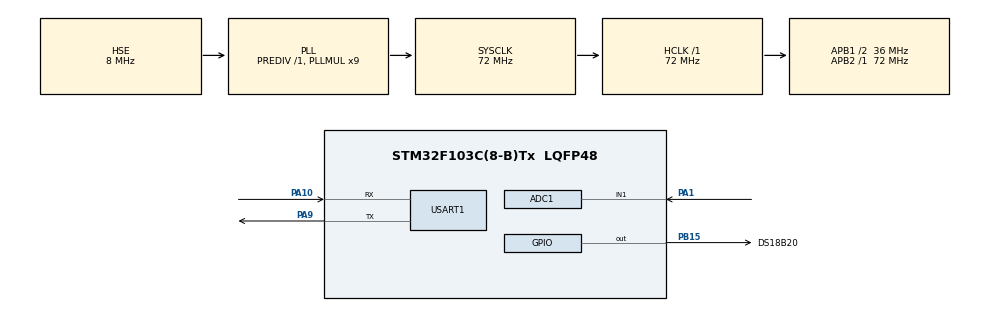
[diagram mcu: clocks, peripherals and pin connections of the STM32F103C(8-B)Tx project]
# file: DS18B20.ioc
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ADC1.Channel-1\#ChannelRegularConversion=ADC_CHANNEL_1
ADC1.ContinuousConvMode=DISABLE
ADC1.NbrOfConversionFlag=1
ADC1.Rank-1\#ChannelRegularConversion=1
ADC1.SamplingTime-1\#ChannelRegularConversion=ADC_SAMPLETIME_1CYCLE_5
ADC1.master=1
Mcu.Family=STM32F1
Mcu.Name=STM32F103C(8-B)Tx
Mcu.Package=LQFP48
NVIC.PriorityGroup=NVIC_PRIORITYGROUP_4
PA1.Signal=ADCx_IN1
PA10.Mode=Asynchronous
PA10.Signal=USART1_RX
PA13.Mode=Serial_Wire
PA13.Signal=SYS_JTMS-SWDIO
PA14.Mode=Serial_Wire
PA14.Signal=SYS_JTCK-SWCLK
PA9.Mode=Asynchronous
PA9.Signal=USART1_TX
PB15.GPIO_Label=DS18B20
PB15.Signal=GPIO_Output
PD0-OSC_IN.Mode=HSE-External-Oscillator
PD0-OSC_IN.Signal=RCC_OSC_IN
PD1-OSC_OUT.Mode=HSE-External-Oscillator
PD1-OSC_OUT.Signal=RCC_OSC_OUT
ProjectManager.HeapSize=0x200
ProjectManager.StackSize=0x400
ProjectManager.TargetToolchain=MDK-ARM V5
RCC.ADCPresc=RCC_ADCPCLK2_DIV6
RCC.AHBFreq_Value=72000000
RCC.APB1CLKDivider=RCC_HCLK_DIV2
RCC.APB1Freq_Value=36000000
RCC.APB1TimFreq_Value=72000000
RCC.APB2Freq_Value=72000000
RCC.APB2TimFreq_Value=72000000
RCC.HCLKFreq_Value=72000000
RCC.PLLMUL=RCC_PLL_MUL9
RCC.PLLSourceVirtual=RCC_PLLSOURCE_HSE
RCC.SYSCLKFreq_VALUE=72000000
RCC.SYSCLKSource=RCC_SYSCLKSOURCE_PLLCLK
RCC.USBFreq_Value=72000000
SH.ADCx_IN1.0=ADC1_IN1,IN1
TIM3.Prescaler=72-1
USART1.VirtualMode=VM_ASYNC
VP_TIM3_VS_ClockSourceINT.Mode=Internal
board=custom

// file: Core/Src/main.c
/* USER CODE BEGIN Header */
/**
  ******************************************************************************
  * @file           : main.c
  * @brief          : Main program body
  ******************************************************************************
  * @attention
  *
  * <h2><center>&copy; Copyright (c) 2022 STMicroelectronics.
  * All rights reserved.</center></h2>
  *
  * This software component is licensed by ST under BSD 3-Clause license,
  * the "License"; You may not use this file except in compliance with the
  * License. You may obtain a copy of the License at:
  *                        opensource.org/licenses/BSD-3-Clause
  *
  ******************************************************************************
  */
/* USER CODE END Header */
#include "main.h"

/* USER CODE BEGIN Includes */
#include <stdio.h>
#include <DS18B20.h>
uint8_t u8_RxBuff[20]; //Buffer luu chuoi nhan duoc
uint8_t u8_RxData;	//Luu byte nhan duoc
uint8_t u8_TxBuff[20] = ""; //Buffer truyen di
uint8_t _rxIndex; //con tro cua RxBuff
uint8_t Tx_Flag = 0;
/* USER CODE END Includes */

ADC_HandleTypeDef hadc1;

TIM_HandleTypeDef htim3;

UART_HandleTypeDef huart1;

void SystemClock_Config(void);
static void MX_GPIO_Init(void);
static void MX_ADC1_Init(void);
static void MX_USART1_UART_Init(void);
static void MX_TIM3_Init(void);

/* USER CODE BEGIN 0 */
DS18B20_Name DS1;
float Temp;
/* USER CODE END 0 */

int main(void)
{

  /* MCU Configuration--------------------------------------------------------*/

  /* Reset of all peripherals, Initializes the Flash interface and the Systick. */
  HAL_Init();

  /* Configure the system clock */
  SystemClock_Config();

  /* Initialize all configured peripherals */
  MX_GPIO_Init();
  MX_ADC1_Init();
  MX_USART1_UART_Init();
  MX_TIM3_Init();
  /* USER CODE BEGIN 2 */
	char Char_2_uint[8] = "";
	DS18B20_Init(&DS1, &htim3, DS18B20_GPIO_Port, DS18B20_Pin);
  /* USER CODE END 2 */

  /* Infinite loop */
  while (1)
  {

    /* USER CODE BEGIN 3 */
		Temp = DS18B20_ReadTemp(&DS1);

		sprintf(Char_2_uint,"%2.2f\n",Temp);
		for(int i = 0; i < 8; i++)
		{
			u8_TxBuff[i] = (uint8_t)Char_2_uint[i];
		}
		HAL_UART_Transmit(&huart1, u8_TxBuff, sizeof(u8_TxBuff),100);
		HAL_Delay(500);
  }
  /* USER CODE END 3 */
}

void SystemClock_Config(void)
{
  RCC_OscInitTypeDef RCC_OscInitStruct = {0};
  RCC_ClkInitTypeDef RCC_ClkInitStruct = {0};
  RCC_PeriphCLKInitTypeDef PeriphClkInit = {0};

  /** Initializes the RCC Oscillators according to the specified parameters
  * in the RCC_OscInitTypeDef structure.
  */
  RCC_OscInitStruct.OscillatorType = RCC_OSCILLATORTYPE_HSE;
  RCC_OscInitStruct.HSEState = RCC_HSE_ON;
  RCC_OscInitStruct.HSEPredivValue = RCC_HSE_PREDIV_DIV1;
  RCC_OscInitStruct.HSIState = RCC_HSI_ON;
  RCC_OscInitStruct.PLL.PLLState = RCC_PLL_ON;
  RCC_OscInitStruct.PLL.PLLSource = RCC_PLLSOURCE_HSE;
  RCC_OscInitStruct.PLL.PLLMUL = RCC_PLL_MUL9;
  if (HAL_RCC_OscConfig(&RCC_OscInitStruct) != HAL_OK)
  {
    Error_Handler();
  }
  /** Initializes the CPU, AHB and APB buses clocks
  */
  RCC_ClkInitStruct.ClockType = RCC_CLOCKTYPE_HCLK|RCC_CLOCKTYPE_SYSCLK
                              |RCC_CLOCKTYPE_PCLK1|RCC_CLOCKTYPE_PCLK2;
  RCC_ClkInitStruct.SYSCLKSource = RCC_SYSCLKSOURCE_PLLCLK;
  RCC_ClkInitStruct.AHBCLKDivider = RCC_SYSCLK_DIV1;
  RCC_ClkInitStruct.APB1CLKDivider = RCC_HCLK_DIV2;
  RCC_ClkInitStruct.APB2CLKDivider = RCC_HCLK_DIV1;

  if (HAL_RCC_ClockConfig(&RCC_ClkInitStruct, FLASH_LATENCY_2) != HAL_OK)
  {
    Error_Handler();
  }
  PeriphClkInit.PeriphClockSelection = RCC_PERIPHCLK_ADC;
  PeriphClkInit.AdcClockSelection = RCC_ADCPCLK2_DIV6;
  if (HAL_RCCEx_PeriphCLKConfig(&PeriphClkInit) != HAL_OK)
  {
    Error_Handler();
  }
}

static void MX_ADC1_Init(void)
{

  ADC_ChannelConfTypeDef sConfig = {0};

  /** Common config
  */
  hadc1.Instance = ADC1;
  hadc1.Init.ScanConvMode = ADC_SCAN_DISABLE;
  hadc1.Init.ContinuousConvMode = DISABLE;
  hadc1.Init.DiscontinuousConvMode = DISABLE;
  hadc1.Init.ExternalTrigConv = ADC_SOFTWARE_START;
  hadc1.Init.DataAlign = ADC_DATAALIGN_RIGHT;
  hadc1.Init.NbrOfConversion = 1;
  if (HAL_ADC_Init(&hadc1) != HAL_OK)
  {
    Error_Handler();
  }
  /** Configure Regular Channel
  */
  sConfig.Channel = ADC_CHANNEL_1;
  sConfig.Rank = ADC_REGULAR_RANK_1;
  sConfig.SamplingTime = ADC_SAMPLETIME_1CYCLE_5;
  if (HAL_ADC_ConfigChannel(&hadc1, &sConfig) != HAL_OK)
  {
    Error_Handler();
  }

}

static void MX_TIM3_Init(void)
{

  TIM_ClockConfigTypeDef sClockSourceConfig = {0};
  TIM_MasterConfigTypeDef sMasterConfig = {0};

  htim3.Instance = TIM3;
  htim3.Init.Prescaler = 72-1;
  htim3.Init.CounterMode = TIM_COUNTERMODE_UP;
  htim3.Init.Period = 65535;
  htim3.Init.ClockDivision = TIM_CLOCKDIVISION_DIV1;
  htim3.Init.AutoReloadPreload = TIM_AUTORELOAD_PRELOAD_DISABLE;
  if (HAL_TIM_Base_Init(&htim3) != HAL_OK)
  {
    Error_Handler();
  }
  sClockSourceConfig.ClockSource = TIM_CLOCKSOURCE_INTERNAL;
  if (HAL_TIM_ConfigClockSource(&htim3, &sClockSourceConfig) != HAL_OK)
  {
    Error_Handler();
  }
  sMasterConfig.MasterOutputTrigger = TIM_TRGO_RESET;
  sMasterConfig.MasterSlaveMode = TIM_MASTERSLAVEMODE_DISABLE;
  if (HAL_TIMEx_MasterConfigSynchronization(&htim3, &sMasterConfig) != HAL_OK)
  {
    Error_Handler();
  }

}

static void MX_USART1_UART_Init(void)
{

  huart1.Instance = USART1;
  huart1.Init.BaudRate = 115200;
  huart1.Init.WordLength = UART_WORDLENGTH_8B;
  huart1.Init.StopBits = UART_STOPBITS_1;
  huart1.Init.Parity = UART_PARITY_NONE;
  huart1.Init.Mode = UART_MODE_TX_RX;
  huart1.Init.HwFlowCtl = UART_HWCONTROL_NONE;
  huart1.Init.OverSampling = UART_OVERSAMPLING_16;
  if (HAL_UART_Init(&huart1) != HAL_OK)
  {
    Error_Handler();
  }

}

static void MX_GPIO_Init(void)
{
  GPIO_InitTypeDef GPIO_InitStruct = {0};

  /* GPIO Ports Clock Enable */
  __HAL_RCC_GPIOD_CLK_ENABLE();
  __HAL_RCC_GPIOA_CLK_ENABLE();
  __HAL_RCC_GPIOB_CLK_ENABLE();

  /*Configure GPIO pin Output Level */
  HAL_GPIO_WritePin(DS18B20_GPIO_Port, DS18B20_Pin, GPIO_PIN_RESET);

  /*Configure GPIO pin : DS18B20_Pin */
  GPIO_InitStruct.Pin = DS18B20_Pin;
  GPIO_InitStruct.Mode = GPIO_MODE_OUTPUT_PP;
  GPIO_InitStruct.Pull = GPIO_NOPULL;
  GPIO_InitStruct.Speed = GPIO_SPEED_FREQ_LOW;
  HAL_GPIO_Init(DS18B20_GPIO_Port, &GPIO_InitStruct);

}

void Error_Handler(void)
{
  __disable_irq();
  while (1)
  {
  }
}

/************************ (C) COPYRIGHT STMicroelectronics *****END OF FILE****/
